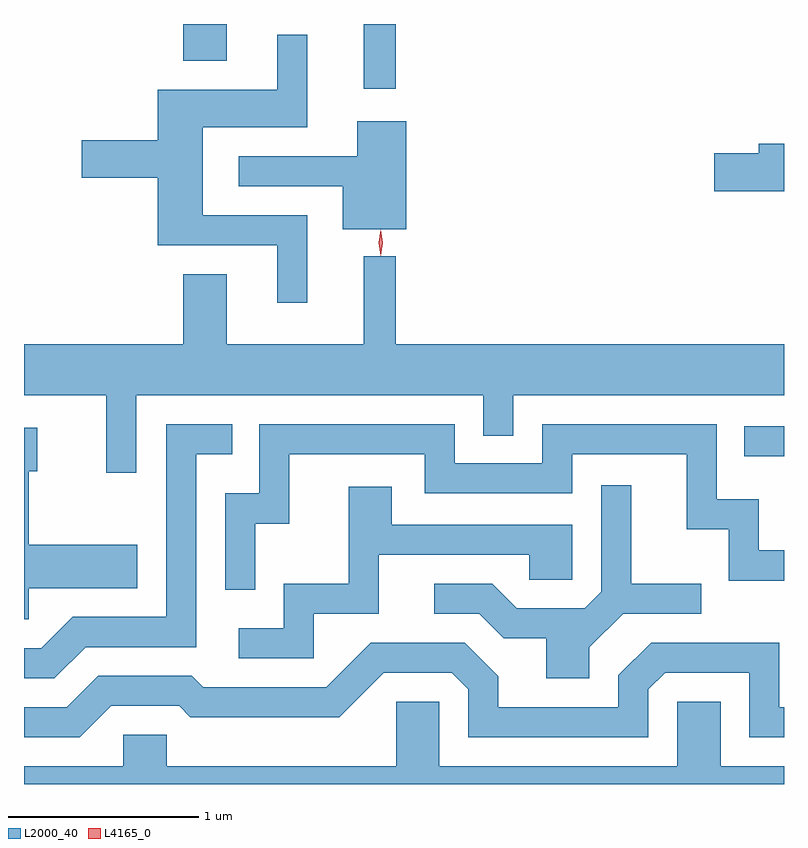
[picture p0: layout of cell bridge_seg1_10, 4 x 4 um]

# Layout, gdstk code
import gdstk
lib = gdstk.Library(unit=1e-6, precision=1e-09)
def R(c, l, rs):  # rectangles x0, y0, x1, y1
    for r in rs: c.add(gdstk.rectangle(r[:2], r[2:], *l))
def P(c, l, *ps):  # polygons
    for p in ps: c.add(gdstk.Polygon(p, *l))
L2000_40 = (2000, 40)
L4165_0 = (4165, 0)

bridge_seg1_10 = lib.new_cell('bridge_seg1_10')
R(bridge_seg1_10, L2000_40, [(1564.443,939.216,1564.653,939.374), (1562.441,941.148,1562.609,941.49), (1561.491,941.296,1561.719,941.49)])
P(bridge_seg1_10, L2000_40, [(1562.144,940.484),(1561.594,940.484),(1561.594,940.946),(1562.144,940.946),(1562.144,941.433),(1561.986,941.433),(1561.986,941.144),(1561.356,941.144),(1561.356,940.879),(1560.956,940.879),(1560.956,940.681),(1561.356,940.681),(1561.356,940.326),(1561.986,940.326),(1561.986,940.023),(1562.144,940.023)],
  [(1562.664,940.979),(1562.406,940.979),(1562.406,940.794),(1561.783,940.794),(1561.783,940.636),(1562.331,940.636),(1562.331,940.411),(1562.664,940.411)],
  [(1564.653,940.859),(1564.521,940.859),(1564.521,940.809),(1564.286,940.809),(1564.286,940.611),(1564.653,940.611)],
  [(1561.244,939.536),(1563.071,939.536),(1563.071,939.323),(1563.229,939.323),(1563.229,939.536),(1564.653,939.536),(1564.653,939.804),(1562.609,939.804),(1562.609,940.268),(1562.441,940.268),(1562.441,939.804),(1561.719,939.804),(1561.719,940.174),(1561.491,940.174),(1561.491,939.804),(1560.653,939.804),(1560.653,939.536),(1561.086,939.536),(1561.086,939.128),(1561.244,939.128)],
  [(1561.869,938.861),(1562.049,938.861),(1562.049,939.226),(1562.761,939.226),(1562.761,939.021),(1563.539,939.021),(1563.539,939.226),(1564.141,939.226),(1564.141,938.831),(1564.361,938.831),(1564.361,938.561),(1564.653,938.561),(1564.653,938.719),(1564.519,938.719),(1564.519,938.989),(1564.299,938.989),(1564.299,939.384),(1563.381,939.384),(1563.381,939.179),(1562.919,939.179),(1562.919,939.384),(1561.891,939.384),(1561.891,939.019),(1561.711,939.019),(1561.711,938.513),(1561.869,938.513)],
  [(1560.977,938.211),(1561.559,938.211),(1561.559,939.226),(1561.748,939.226),(1561.748,939.384),(1561.401,939.384),(1561.401,938.369),(1560.909,938.369),(1560.744,938.204),(1560.653,938.204),(1560.653,938.046),(1560.812,938.046)],
  [(1560.679,938.521),(1561.249,938.521),(1561.249,938.749),(1560.679,938.749),(1560.679,939.136),(1560.724,939.136),(1560.724,939.364),(1560.653,939.364),(1560.653,938.356),(1560.679,938.356)],
  [(1563.629,938.209),(1563.807,938.386),(1564.218,938.386),(1564.218,938.544),(1563.849,938.544),(1563.849,939.063),(1563.691,939.063),(1563.691,938.502),(1563.604,938.414),(1563.247,938.414),(1563.117,938.544),(1562.813,938.544),(1562.813,938.386),(1563.049,938.386),(1563.179,938.256),(1563.401,938.256),(1563.401,938.046),(1563.629,938.046)],
  [(1562.179,938.386),(1562.519,938.386),(1562.519,938.696),(1563.311,938.696),(1563.311,938.566),(1563.539,938.566),(1563.539,938.854),(1562.589,938.854),(1562.589,939.054),(1562.361,939.054),(1562.361,938.544),(1562.021,938.544),(1562.021,938.309),(1561.783,938.309),(1561.783,938.151),(1562.179,938.151)],
  [(1561.112,937.901),(1561.469,937.901),(1561.529,937.841),(1562.312,937.841),(1562.547,938.076),(1562.904,938.076),(1562.991,937.989),(1562.991,937.736),(1563.939,937.736),(1563.939,937.989),(1564.027,938.076),(1564.471,938.076),(1564.471,937.736),(1564.653,937.736),(1564.653,937.894),(1564.629,937.894),(1564.629,938.234),(1563.954,938.234),(1563.781,938.062),(1563.781,937.894),(1563.149,937.894),(1563.149,938.057),(1562.972,938.234),(1562.479,938.234),(1562.244,937.999),(1561.597,937.999),(1561.537,938.059),(1561.044,938.059),(1560.879,937.894),(1560.653,937.894),(1560.653,937.736),(1560.947,937.736)],
  [(1564.653,937.584),(1564.319,937.584),(1564.319,937.924),(1564.091,937.924),(1564.091,937.584),(1562.839,937.584),(1562.839,937.924),(1562.611,937.924),(1562.611,937.584),(1561.404,937.584),(1561.404,937.749),(1561.176,937.749),(1561.176,937.584),(1560.653,937.584),(1560.653,937.49),(1564.653,937.49)])
P(bridge_seg1_10, L4165_0, [(1562.53,940.27),(1562.53,940.27),(1562.52,940.338),(1562.53,940.406),(1562.531,940.406),(1562.531,940.406),(1562.54,940.338),(1562.53,940.27)])

lib.write_gds('bridge_seg1_10.gds')
